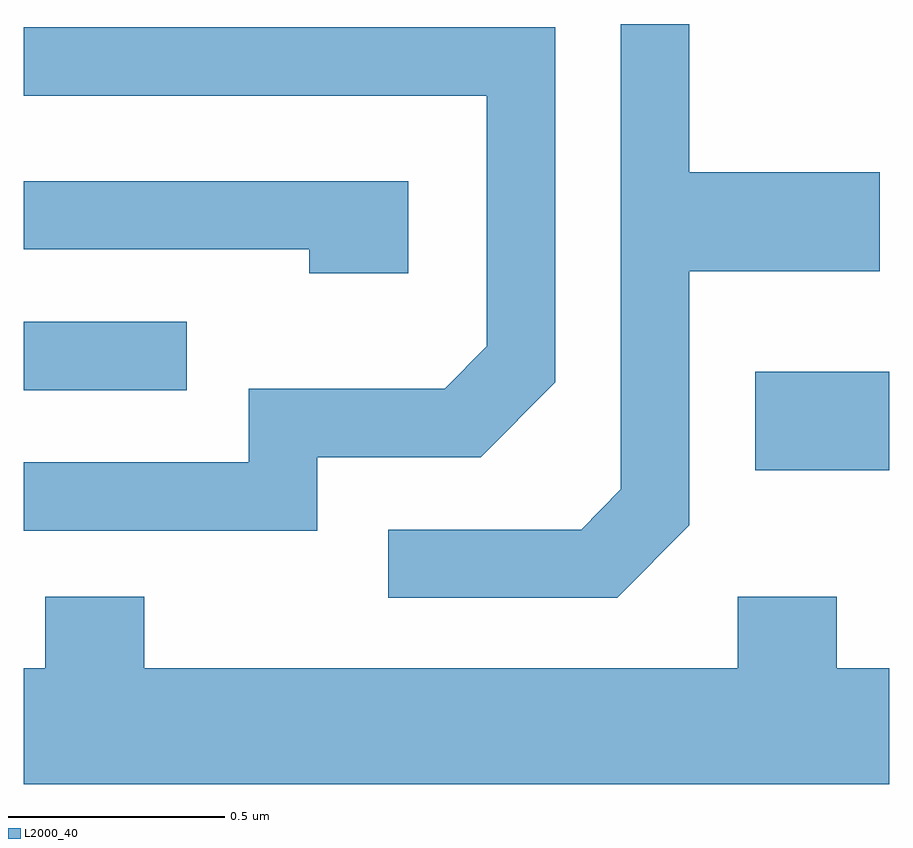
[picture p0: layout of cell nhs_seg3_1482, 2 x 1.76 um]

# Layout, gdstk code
import gdstk
lib = gdstk.Library(unit=1e-6, precision=1e-09)
def R(c, l, rs):  # rectangles x0, y0, x1, y1
    for r in rs: c.add(gdstk.rectangle(r[:2], r[2:], *l))
def P(c, l, *ps):  # polygons
    for p in ps: c.add(gdstk.Polygon(p, *l))
L2000_40 = (2000, 40)

nhs_seg3_1482 = lib.new_cell('nhs_seg3_1482')
R(nhs_seg3_1482, L2000_40, [(197.301,1228.861,197.611,1229.089), (195.611,1229.046,195.988,1229.204)])
P(nhs_seg3_1482, L2000_40, [(197.149,1228.734),(197.149,1229.321),(197.589,1229.321),(197.589,1229.549),(197.149,1229.549),(197.149,1229.892),(196.991,1229.892),(196.991,1228.817),(196.899,1228.724),(196.453,1228.724),(196.453,1228.566),(196.982,1228.566)],
  [(196.289,1228.891),(196.667,1228.891),(196.839,1229.064),(196.839,1229.884),(195.611,1229.884),(195.611,1229.726),(196.681,1229.726),(196.681,1229.147),(196.584,1229.049),(196.131,1229.049),(196.131,1228.879),(195.611,1228.879),(195.611,1228.721),(196.289,1228.721)],
  [(196.499,1229.529),(195.611,1229.529),(195.611,1229.371),(196.271,1229.371),(196.271,1229.316),(196.499,1229.316)],
  [(197.611,1228.404),(197.489,1228.404),(197.489,1228.569),(197.261,1228.569),(197.261,1228.404),(195.889,1228.404),(195.889,1228.569),(195.661,1228.569),(195.661,1228.404),(195.611,1228.404),(195.611,1228.136),(197.611,1228.136)])

lib.write_gds('nhs_seg3_1482.gds')
